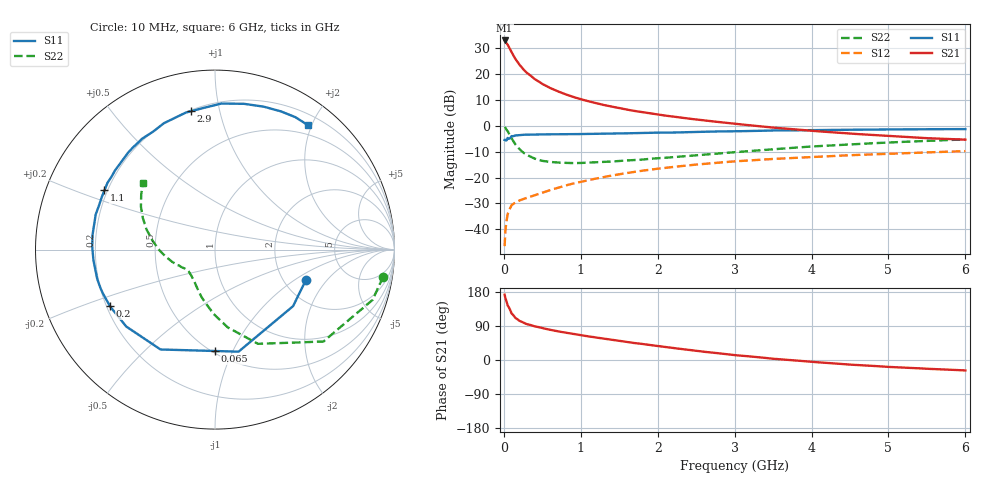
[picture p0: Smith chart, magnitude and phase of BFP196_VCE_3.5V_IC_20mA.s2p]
! Infineon Technologies  Discrete & RF Semiconductors
! BFP196
! VCE = 3.5 V,  IC =  20mA
! Common Emitter S-Parameters:  Jan 2016
# GHz  S  MA  R  50
!  f  S11  S21  S12  S22
! GHz  MAG  ANG  MAG  ANG  MAG  ANG  MAG  ANG
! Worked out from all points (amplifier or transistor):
!   210 points, 10 MHz to 6 GHz, reference 50 ohm
!   highest |S21| = 33.1 dB at 10 MHz (marker M1)
!   |S21| within 3 dB of that: start of sweep to 72.96 MHz
!   unconditionally stable (mu >= 1): 672.9 MHz to 3.467 GHz; 3.584 GHz to 3.935 GHz
!   at 185 MHz: K = 0.47, MSG = 26.8 dB, |S12| = -29.1 dB
!   at 1.52 GHz: K = 1.11, MAG = 10.7 dB, |S12| = -18.6 dB
!   at 6 GHz: K = 0.96, MSG = 2.2 dB, |S12| = -9.8 dB
!   S11 on the Smith chart (normalised r, x): 10 MHz: 2.61, -1.25; 65 MHz: 0.52, -0.86; 200 MHz: 0.21, -0.24; 1.1 GHz: 0.19, +0.24; 2.9 GHz: 0.21, +0.82; 6 GHz: 0.35, +1.94
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0.01  0.5337 -18.7  44.94 172.3  0.0047 84.1  0.9491 -9.2
0.02  0.5371 -35.9  43.26 163.6  0.0093 77.0  0.9214 -17.7
0.05  0.5836 -77.0  37.14 144.0  0.0197 61.0  0.7921 -40.3
0.065  0.565 -89.9  33.58 139.1  0.0224 55.5  0.7149 -46.2
0.1  0.6338 -118.6  26.64 123.0  0.0292 46.7  0.5769 -65.5
0.15  0.6545 -139.1  19.68 111.0  0.0329 41.3  0.4391 -80.7
0.2  0.6648 -151.6  15.48 103.7  0.0358 40.7  0.3593 -91.1
0.24  0.6702 -158.4  13.13 99.6  0.0378 40.7  0.3156 -97.6
0.3  0.6763 -166.1  10.6 94.6  0.0405 42.2  0.2741 -106.0
0.4  0.6799 -174.9  8.065 88.9  0.0455 45.2  0.2325 -116.0
0.5  0.6843 178.6  6.48 84.1  0.0509 47.2  0.2105 -123.3
0.6  0.6872 173.0  5.42 79.7  0.0571 49.3  0.2006 -128.9
0.7  0.6878 167.7  4.669 75.6  0.063 51.1  0.1949 -133.5
1.02  0.6957 154.7  3.219 65.0  0.0839 52.8  0.1919 -142.6
1.1  0.699 151.8  2.989 62.3  0.0892 52.8  0.1946 -144.4
1.6  0.7181 135.0  2.059 47.6  0.1223 50.2  0.2142 -153.9
2.02  0.7393 122.8  1.64 36.5  0.1493 45.9  0.2369 -161.1
2.9  0.7826 99.8  1.14 15.3  0.2003 35.6  0.3012 -177.6
3.1  0.7896 95.6  1.062 11.2  0.2101 33.1  0.3174 178.7
4.1  0.8297 77.2  0.782 -6.3  0.2538 21.3  0.4064 161.9
5.1  0.8545 63.4  0.626 -19.1  0.2922 10.3  0.4837 148.5
6  0.8654 53.4  0.541 -27.5  0.3246 0.1  0.5468 137.0
